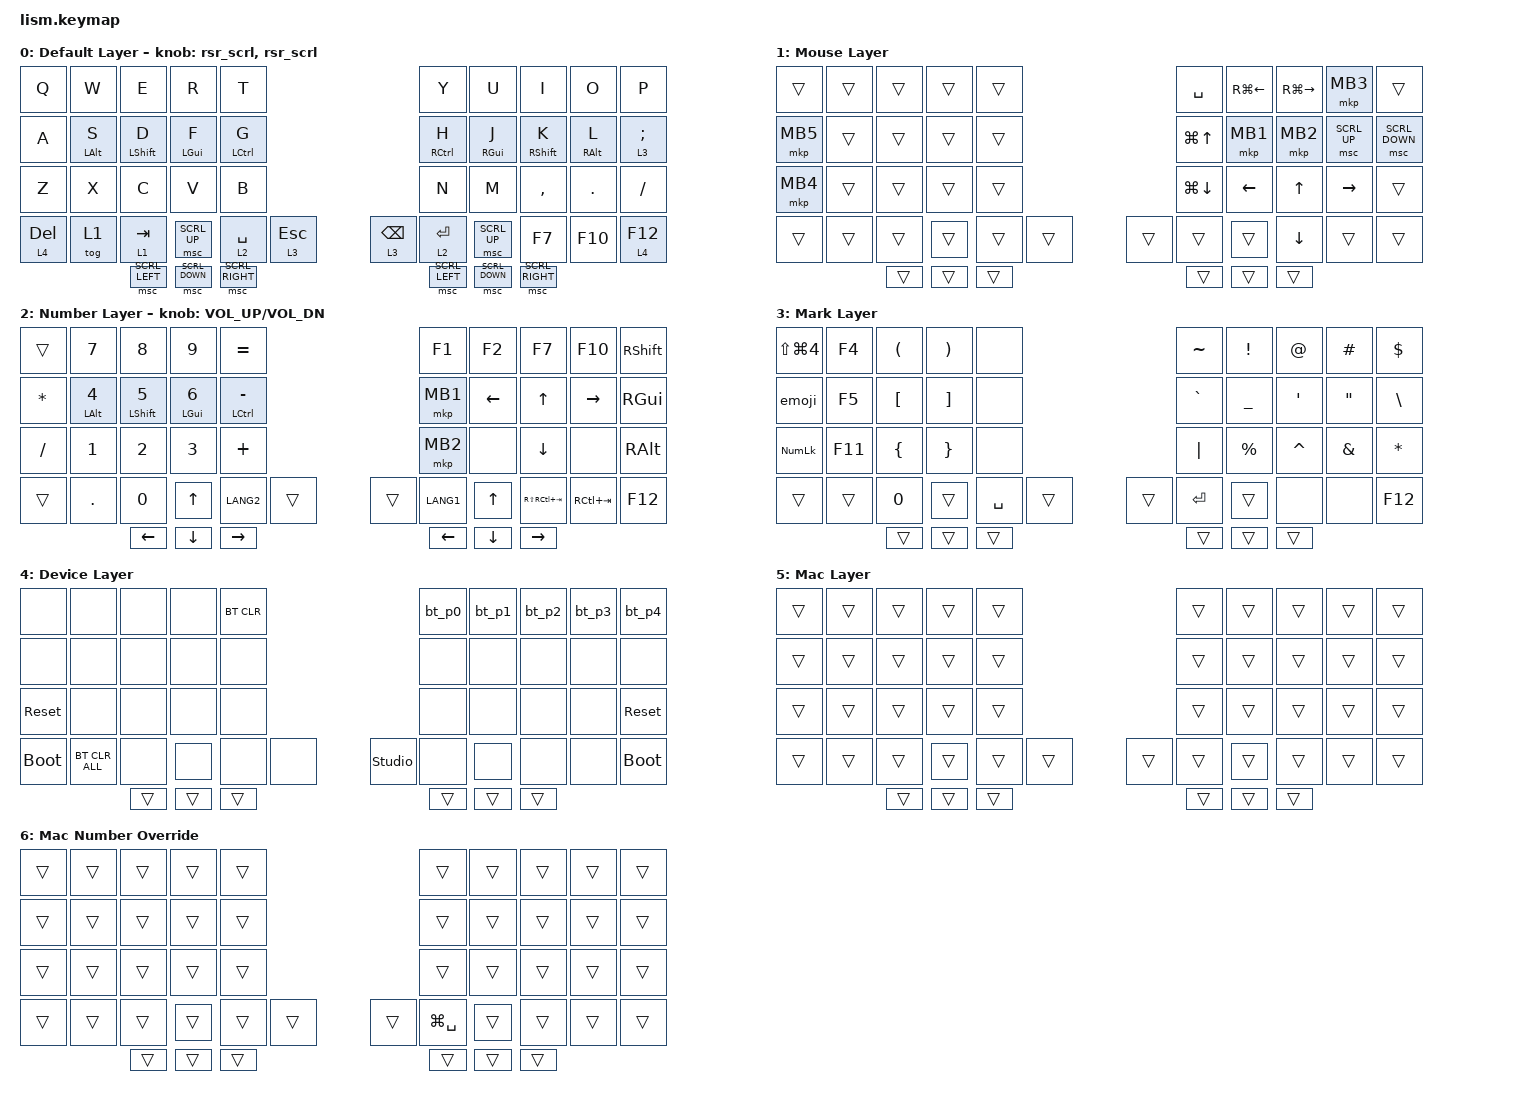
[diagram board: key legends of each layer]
#define ZMK_POINTING_DEFAULT_SCRL_VAL 200
#define MAC 6
#define MAC_NUMBER 7

#include <behaviors.dtsi>
#include <dt-bindings/zmk/bt.h>
#include <dt-bindings/zmk/keys.h>
#include <dt-bindings/zmk/pointing.h>
#include <dt-bindings/zmk/mouse.h>
#include <behaviors/runtime-sensor-rotate.dtsi>
#include <behaviors/default_layer.dtsi>
#include <dt-bindings/zmk_behavior_default_layer/default_layer.h>

&mt {
    tapping-term-ms = <300>;
    flavor = "balanced";
};

&lt {
    quick-tap-ms = <300>;
};

/ {
    conditional_layers {
        compatible = "zmk,conditional-layers";
        mac_number_layer {
            if-layers = <MAC 2>;
            then-layer = <MAC_NUMBER>;
        };
    };
};

/ {
    combos {
        compatible = "zmk,combos";
        /* DYA Studioのランタイムコンボはレイヤー判定が効かないため、Mac専用スクショは */
        /* コンパイル済みの通常ZMKコンボとして実装(R+T、Mac Layer時のみ) */
        screenshot_mac { bindings = <&kp LC(LS(LG(N4)))>; key-positions = <3 4>; layers = <MAC>; };
        hankaku_zenkaku_mac { bindings = <&kp LG(SPACE)>; key-positions = <12 13>; layers = <MAC>; };
    };
};

/ {
    macros {
        emoji: emoji_macro {
            compatible = "zmk,behavior-macro";
            label = "EMOJI";
            #binding-cells = <0>;
            bindings =
                <&macro_press &kp CAPSLOCK>,
                <&macro_tap &kp E>,
                <&macro_release &kp CAPSLOCK>;
        };

        /* BTプロファイル切替に連動してMacモード(MACレイヤー)をON/OFFする */
        /* zmk-feature-default-layerの&df DF_SELはエンドポイントごとにデフォルトレイヤーを */
        /* 記憶・自動再適用する(central.confのCONFIG_ZMK_DEFAULT_LAYER_MAX_INDEXで層6まで許可済み) */
        /* BT_SEL直後はまだ選択中エンドポイントが切り替わっていないことがあるため、 */
        /* DF_SELの前に待ち時間を挟んで確実に新エンドポイントに適用されるようにする */
        bt_p0: bt_p0 { label = "BT_P0"; compatible = "zmk,behavior-macro"; #binding-cells = <0>; bindings = <&bt BT_SEL 0>, <&macro_wait_time 150>, <&df DF_SEL 0>; };
        bt_p1: bt_p1 { label = "BT_P1"; compatible = "zmk,behavior-macro"; #binding-cells = <0>; bindings = <&bt BT_SEL 1>, <&macro_wait_time 150>, <&df DF_SEL MAC>; };
        bt_p2: bt_p2 { label = "BT_P2"; compatible = "zmk,behavior-macro"; #binding-cells = <0>; bindings = <&bt BT_SEL 2>, <&macro_wait_time 150>, <&df DF_SEL 0>; };
        bt_p3: bt_p3 { label = "BT_P3"; compatible = "zmk,behavior-macro"; #binding-cells = <0>; bindings = <&bt BT_SEL 3>, <&macro_wait_time 150>, <&df DF_SEL 0>; };
        bt_p4: bt_p4 { label = "BT_P4"; compatible = "zmk,behavior-macro"; #binding-cells = <0>; bindings = <&bt BT_SEL 4>, <&macro_wait_time 150>, <&df DF_SEL 0>; };
    };

    behaviors {
        encoder_kp: sensor_rotate_kp {
            compatible = "zmk,behavior-sensor-rotate-var";
            #sensor-binding-cells = <2>;
            bindings = <&kp>, <&kp>;
        };

        rsr_scrl: rsr_scrl {
            compatible = "zmk,behavior-runtime-sensor-rotate";
            #sensor-binding-cells = <0>;
            tap-ms = <20>;
            cw-binding = <&msc SCRL_DOWN>;
            ccw-binding = <&msc SCRL_UP>;
        };
    };

    keymap {
        compatible = "zmk,keymap";

        default_layer {
            display-name = "Default Layer";
            bindings = <
                &kp Q            &kp W              &kp E                 &kp R                   &kp T                                                  &kp Y          &kp U            &kp I              &kp O               &kp P
                &kp A            &mt LALT S         &mt LSHIFT D          &mt LGUI F              &mt LCTRL G                                            &mt RCTRL H    &mt RGUI J       &mt RSHIFT K       &mt RALT L          &lt 3 SEMICOLON
                &kp Z            &kp X              &kp C                 &kp V                   &kp B                                                  &kp N          &kp M            &kp COMMA          &kp DOT             &kp SLASH
                &lt 4 DELETE     &tog 1             &lt 1 TAB             &msc SCRL_UP            &lt 2 SPACE       &lt 3 ESC           &lt 3 BACKSPACE  &lt 2 ENTER    &msc SCRL_UP     &kp F7             &kp F10             &lt 4 F12 
                                                    &msc SCRL_LEFT        &msc SCRL_DOWN          &msc SCRL_RIGHT                                        &msc SCRL_LEFT &msc SCRL_DOWN   &msc SCRL_RIGHT
            >;
            sensor-bindings = <&rsr_scrl &rsr_scrl>;
        };

        layer_1 {
            display-name = "Mouse Layer";
            bindings = <
                &trans           &trans             &trans                &trans                  &trans                                                 &kp SPACE      &kp RG(LEFT)     &kp RG(RIGHT)      &mkp MB3            &trans
                &mkp MB5         &trans             &trans                &trans                  &trans                                                 &kp LG(UP)     &mkp MB1         &mkp MB2           &msc SCRL_UP        &msc SCRL_DOWN
                &mkp MB4         &trans             &trans                &trans                  &trans                                                 &kp LG(DOWN)   &kp LEFT         &kp UP             &kp RIGHT           &trans
                /* この位置はDefault LayerのDevice Layerアクセスキー(row4右端)と共有。 */
                /* Mouse Layerがアクティブな間にこのキーを押すとLG(W)(Win+W=ウィジェット)が */
                /* 優先されてDevice Layerに入れなくなるため、&transにしてDevice Layer */
                /* アクセスを常に優先させる */
                &trans           &trans             &trans                &trans                  &trans            &trans              &trans           &trans         &trans           &kp DOWN           &trans              &trans
                                                    &trans                &trans                  &trans                                                 &trans         &trans           &trans
            >;
        };

        layer_2 {
            display-name = "Number Layer";
            bindings = <
                &trans           &kp NUMBER_7       &kp NUMBER_8          &kp NUMBER_9            &kp EQUAL                                              &kp F1         &kp F2           &kp F7             &kp F10             &kp RSHIFT
                &kp ASTERISK     &mt LALT NUMBER_4  &mt LSHIFT NUMBER_5   &mt LGUI NUMBER_6       &mt LCTRL MINUS                                        &mkp MB1       &kp LEFT         &kp UP             &kp RIGHT           &kp RGUI
                &kp SLASH        &kp NUMBER_1       &kp NUMBER_2          &kp NUMBER_3            &kp PLUS                                               &mkp MB2       &none            &kp DOWN           &none               &kp RALT
                &trans           &kp DOT            &kp NUMBER_0          &kp UP                  &kp LANG2         &trans              &trans           &kp LANG1      &kp UP           &kp RS(RC(TAB))    &kp RC(TAB)         &kp F12 
                                                    &kp LEFT              &kp DOWN                &kp RIGHT                                              &kp LEFT       &kp DOWN         &kp RIGHT
            >;
            sensor-bindings = <&encoder_kp C_VOL_UP C_VOL_DN>;
        };

        layer_3 {
            display-name = "Mark Layer";
            bindings = <
                &kp LS(LG(N4))   &kp F4             &kp LEFT_PARENTHESIS  &kp RIGHT_PARENTHESIS   &none                                                  &kp TILDE      &kp EXCLAMATION  &kp AT_SIGN        &kp HASH            &kp DOLLAR
                &emoji           &kp F5             &kp LEFT_BRACKET      &kp RIGHT_BRACKET       &none                                                  &kp GRAVE      &kp UNDER        &kp SINGLE_QUOTE   &kp DOUBLE_QUOTES   &kp BACKSLASH
                &kp KP_NUMLOCK   &kp F11            &kp LEFT_BRACE        &kp RIGHT_BRACE         &none                                                  &kp PIPE       &kp PERCENT      &kp CARET          &kp AMPERSAND       &kp ASTERISK
                &trans           &trans             &kp NUMBER_0          &trans                  &kp SPACE         &trans              &trans           &kp ENTER      &trans           &none              &none               &kp F12 
                                                    &trans                &trans                  &trans                                                 &trans         &trans           &trans
            >;
        };

        layer_4 {
            display-name = "Device Layer";
            bindings = <
                &none            &none              &none                 &none                   &bt BT_CLR                                             &bt_p0         &bt_p1           &bt_p2             &bt_p3              &bt_p4
                &none            &none              &none                 &none                   &none                                                  &none          &none            &none              &none               &none
                &sys_reset       &none              &none                 &none                   &none                                                  &none          &none            &none              &none               &sys_reset
                &bootloader      &bt BT_CLR_ALL     &none                 &none                   &none             &none               &studio_unlock   &none          &none            &none              &none               &bootloader
                                                    &trans                &trans                  &trans                                                 &trans         &trans           &trans
            >;
        };

        layer_5 {
            status = "reserved";
            display-name = "Brank Layer";
            bindings = <
                &trans           &trans             &trans                &trans                  &trans                                                 &trans       &trans           &trans             &trans              &trans
                &trans           &trans             &trans                &trans                  &trans                                                 &trans       &trans           &trans             &trans              &trans
                &trans           &trans             &trans                &trans                  &trans                                                 &trans       &trans           &trans             &trans              &trans
                &trans           &trans             &trans                &trans                  &trans            &trans              &trans           &trans       &trans           &trans             &trans              &trans
                                                    &trans                &trans                  &trans                                                 &trans       &trans           &trans
            >;
        };

        layer_6 {
            display-name = "Mac Layer";
            bindings = <
                &trans           &trans             &trans                &trans                  &trans                                                 &trans       &trans           &trans             &trans              &trans
                &trans           &trans             &trans                &trans                  &trans                                                 &trans       &trans           &trans             &trans              &trans
                &trans           &trans             &trans                &trans                  &trans                                                 &trans       &trans           &trans             &trans              &trans
                &trans           &trans             &trans                &trans                  &trans            &trans              &trans           &trans       &trans           &trans             &trans              &trans
                                                    &trans                &trans                  &trans                                                 &trans       &trans           &trans
            >;
        };

        layer_7 {
            display-name = "Mac Number Override";
            bindings = <
                &trans           &trans             &trans                &trans                  &trans                                                 &trans       &trans           &trans             &trans              &trans
                &trans           &trans             &trans                &trans                  &trans                                                 &trans       &trans           &trans             &trans              &trans
                &trans           &trans             &trans                &trans                  &trans                                                 &trans       &trans           &trans             &trans              &trans
                &trans           &trans             &trans                &trans                  &trans            &trans              &trans           &kp LG(SPACE)  &trans           &trans             &trans              &trans
                                                    &trans                &trans                  &trans                                                 &trans       &trans           &trans
            >;
        };
    };

};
